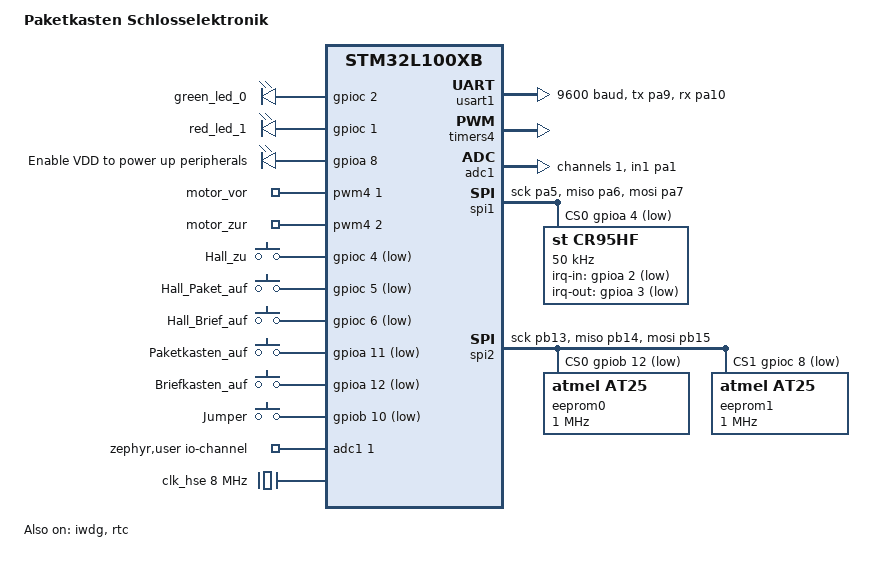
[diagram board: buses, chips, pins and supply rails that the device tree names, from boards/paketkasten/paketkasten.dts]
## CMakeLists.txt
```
#
# Copyright (c) 2025 Conny Marco Menebröcker
#
# SPDX-License-Identifier: Apache-2.0
#

cmake_minimum_required(VERSION 3.20.0)

find_package(Zephyr REQUIRED HINTS $ENV{ZEPHYR_BASE})

project(application)

target_sources(app PRIVATE 	src/main.c
				src/motor.c
				src/inputs.c
				src/states.c
				src/led.c
				src/powermanager.c
				src/rfid.c
				src/eeprom.c)
```

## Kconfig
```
#
# Copyright (c) 2022 Circuit Dojo LLC
#
# SPDX-License-Identifier: Apache-2.0
#

mainmenu "Application"

source "Kconfig.zephyr"
```

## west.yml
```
#
# Copyright (c) 2025 Conny Marco Menebröcker
#
# SPDX-License-Identifier: Apache-2.0
#

manifest:
  defaults:
    remote: upstream

  remotes:
    - name: meinfork
      url-base: https://github.com/cmm1981
    - name: upstream
      url-base: https://github.com/zephyrproject-rtos
  projects:
    - name: zephyr
      remote: meinfork
      revision: rfid
      path: zephyr
      import: true
  self:
    path: app
```

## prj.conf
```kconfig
CONFIG_LOG=y
CONFIG_LOG_PRINTK=y
CONFIG_LOG_MODE_IMMEDIATE=y
#CONFIG_PWM_LOG_LEVEL_DBG=y
CONFIG_STDOUT_CONSOLE=y

CONFIG_MULTITHREADING=y

#CONFIG_ADC_LOG_LEVEL_DBG=y
#CONFIG_DMA_LOG_LEVEL_DBG=y
#CONFIG_SPI_LOG_LEVEL_DBG=y
#CONFIG_RFID_LOG_LEVEL_DBG=y
CONFIG_POLL=y

#CONFIG_THREAD_STACK_INFO=y
#CONFIG_INIT_STACKS=y
#CONFIG_THREAD_ANALYZER=y

CONFIG_SYSTEM_WORKQUEUE_STACK_SIZE=1024
CONFIG_ISR_STACK_SIZE=512
```

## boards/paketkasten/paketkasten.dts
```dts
/*
 * Copyright (c) 2025 Conny Marco Menebröcker
 *
 * SPDX-License-Identifier: Apache-2.0
 */

/dts-v1/;
#include <st/l1/stm32l100Xb.dtsi>
#include <st/l1/stm32l100r(8-b)tx-pinctrl.dtsi>
#include <zephyr/dt-bindings/input/input-event-codes.h>

/ {
	model = "Paketkasten Schlosselektronik";
	compatible = "dhl,paketkasten";

	chosen {
		zephyr,console = &usart1;
		zephyr,shell-uart = &usart1;
		zephyr,sram = &sram0;
		zephyr,flash = &flash0;
	};

	leds: leds {
		compatible = "gpio-leds";
		green_led_0: led_0 {
			gpios = <&gpioc 2 GPIO_ACTIVE_HIGH>;
		};
		red_led_1: led_1 {
			gpios = <&gpioc 1 GPIO_ACTIVE_HIGH>;
		};
		vdd_en:	output {
			gpios = <&gpioa 8 GPIO_ACTIVE_HIGH>;
			label = "Enable VDD to power up peripherals";
		};
	};

	pwmleds: pwmleds {
		compatible = "pwm-leds";
		status = "okay";

		motor_vor: motor_vor {
			pwms = <&pwm4 1 PWM_USEC(100) PWM_POLARITY_NORMAL>;
		};

		motor_zur: motor_zur {
			pwms = <&pwm4 2 PWM_USEC(100) PWM_POLARITY_NORMAL>;
		};
	};

	gpio_keys {
		compatible = "gpio-keys";
		hall_zu: button0 {
			label = "Hall_zu";
			gpios = <&gpioc 4 (GPIO_ACTIVE_LOW | GPIO_PULL_UP)>;
			zephyr,code = <INPUT_KEY_0>;
		};

		hall_p_auf: button1 {
			label = "Hall_Paket_auf";
			gpios = <&gpioc 5 (GPIO_ACTIVE_LOW | GPIO_PULL_UP)>;
			zephyr,code = <INPUT_KEY_1>;
		};

		hall_b_auf: button2 {
			label = "Hall_Brief_auf";
			gpios = <&gpioc 6 (GPIO_ACTIVE_LOW | GPIO_PULL_UP)>;
			zephyr,code = <INPUT_KEY_2>;
		};

		paket_auf: button3 {
			label = "Paketkasten_auf";
			gpios = <&gpioa 11 (GPIO_ACTIVE_LOW | GPIO_PULL_UP)>;
			zephyr,code = <INPUT_KEY_3>;
		};

		brief_auf: button4 {
			label = "Briefkasten_auf";
			gpios = <&gpioa 12 (GPIO_ACTIVE_LOW | GPIO_PULL_UP)>;
			zephyr,code = <INPUT_KEY_4>;
		};

		jumper: button5	{
			label = "Jumper";
			gpios = <&gpiob 10 (GPIO_ACTIVE_LOW | GPIO_PULL_UP)>;
			zephyr,code = <INPUT_KEY_5>;
		};
	};

	aliases	{
		vdden = &vdd_en;
		ledgreen = &green_led_0;
		ledred = &red_led_1;
		motorv = &motor_vor;
		motorz = &motor_zur;
		hallzu = &hall_zu;
		hallpauf = &hall_p_auf;
		hallbauf = &hall_b_auf;
		paketauf = &paket_auf;
		briefauf = &brief_auf;
		jumper = &jumper;
		rfid = &cr95hf;
		watchdog0 = &iwdg;
		/*die-temp0 = &die_temp;
		volt-sensor0 = &vref; */
	};

	zephyr,user {
		io-channels = <&adc1 1>;

		unused_pin_a0_cfg: unused_pin_a0_cfg {
			compatible = "zephyr,gpio-pinctrl";
			pinctrl-0 = <&unused_pin_a0>;
			pinctrl-names = "default";
		};
		unused_pin_b0_cfg: unused_pin_b0_cfg
		{
			compatible = "zephyr,gpio-pinctrl";
			pinctrl-0 = <&unused_pin_b0>;
			pinctrl-names = "default";
		};
		unused_pin_b1_cfg: unused_pin_b1_cfg
		{
			compatible = "zephyr,gpio-pinctrl";
			pinctrl-0 = <&unused_pin_b1>;
			pinctrl-names = "default";
		};
		unused_pin_b2_cfg: unused_pin_b2_cfg
		{
			compatible = "zephyr,gpio-pinctrl";
			pinctrl-0 = <&unused_pin_b2>;
			pinctrl-names = "default";
		};
		unused_pin_b4_cfg: unused_pin_b4_cfg
		{
			compatible = "zephyr,gpio-pinctrl";
			pinctrl-0 = <&unused_pin_b4>;
			pinctrl-names = "default";
		};
		unused_pin_b5_cfg: unused_pin_b5_cfg
		{
			compatible = "zephyr,gpio-pinctrl";
			pinctrl-0 = <&unused_pin_b5>;
			pinctrl-names = "default";
		};
		unused_pin_b8_cfg: unused_pin_b8_cfg
		{
			compatible = "zephyr,gpio-pinctrl";
			pinctrl-0 = <&unused_pin_b8>;
			pinctrl-names = "default";
		};
		unused_pin_b9_cfg: unused_pin_b9_cfg
		{
			compatible = "zephyr,gpio-pinctrl";
			pinctrl-0 = <&unused_pin_b9>;
			pinctrl-names = "default";
		};
		unused_pin_b10_cfg: unused_pin_b10_cfg
		{
			compatible = "zephyr,gpio-pinctrl";
			pinctrl-0 = <&unused_pin_b10>;
			pinctrl-names = "default";
		};
		unused_pin_b11_cfg: unused_pin_b11_cfg
		{
			compatible = "zephyr,gpio-pinctrl";
			pinctrl-0 = <&unused_pin_b11>;
			pinctrl-names = "default";
		};
		unused_pin_c0_cfg: unused_pin_c0_cfg
		{
			compatible = "zephyr,gpio-pinctrl";
			pinctrl-0 = <&unused_pin_c0>;
			pinctrl-names = "default";
		};
		unused_pin_c3_cfg: unused_pin_c3_cfg
		{
			compatible = "zephyr,gpio-pinctrl";
			pinctrl-0 = <&unused_pin_c3>;
			pinctrl-names = "default";
		};
		unused_pin_c7_cfg: unused_pin_c7_cfg
		{
			compatible = "zephyr,gpio-pinctrl";
			pinctrl-0 = <&unused_pin_c7>;
			pinctrl-names = "default";
		};
		unused_pin_c9_cfg: unused_pin_c9_cfg
		{
			compatible = "zephyr,gpio-pinctrl";
			pinctrl-0 = <&unused_pin_c9>;
			pinctrl-names = "default";
		};
		unused_pin_c10_cfg: unused_pin_c10_cfg
		{
			compatible = "zephyr,gpio-pinctrl";
			pinctrl-0 = <&unused_pin_c10>;
			pinctrl-names = "default";
		};
		unused_pin_c11_cfg: unused_pin_c11_cfg
		{
			compatible = "zephyr,gpio-pinctrl";
			pinctrl-0 = <&unused_pin_c11>;
			pinctrl-names = "default";
		};
		unused_pin_c12_cfg: unused_pin_c12_cfg
		{
			compatible = "zephyr,gpio-pinctrl";
			pinctrl-0 = <&unused_pin_c12>;
			pinctrl-names = "default";
		};
		unused_pin_c13_cfg: unused_pin_c13_cfg
		{
			compatible = "zephyr,gpio-pinctrl";
			pinctrl-0 = <&unused_pin_c13>;
			pinctrl-names = "default";
		};
		unused_pin_d2_cfg: unused_pin_d2_cfg
		{
			compatible = "zephyr,gpio-pinctrl";
			pinctrl-0 = <&unused_pin_d2>;
			pinctrl-names = "default";
		};
	};
};

&clk_hse
{
	clock-frequency = <DT_FREQ_M(8)>;
	status = "okay";
};

&clk_hsi {
	status = "okay";
};

&clk_lse {
	status = "okay";
};

&pll {
	div = <2>;
	mul = <3>;
	clocks = <&clk_hse>;
	status = "okay";
};

&rcc {
	clocks = <&pll>;
	clock-frequency = <DT_FREQ_M(12)>;
	ahb-prescaler = <1>;
	apb1-prescaler = <1>;
	apb2-prescaler = <1>;
};

&iwdg {
	status = "okay";
};

&rtc {
	clocks = <&rcc STM32_CLOCK_BUS_APB1 0x10000000>, <&rcc STM32_SRC_LSE RTC_SEL(1)>;
	status = "okay";
};

/* &die_temp {
	status = "okay";
}; */

&flash0 {
	partitions {
		compatible = "fixed-partitions";
		#address-cells = <1>;
		#size-cells = <1>;
	};
};

&dma1 {
	status = "okay";
};

/* &vref {
	status = "okay";
}; */

&usart1 {
	dmas = <&dma1 4 (STM32_DMA_PERIPH_TX | STM32_DMA_PRIORITY_HIGH)>,
	<&dma1 5 (STM32_DMA_PERIPH_RX | STM32_DMA_PRIORITY_HIGH)>;
	dma-names = "tx", "rx";
	pinctrl-0 = <&usart1_tx_pa9 &usart1_rx_pa10>;
	pinctrl-names = "default";
	current-speed = <9600>;
	status = "okay";
};

&timers4 {
	status = "okay";

	pwm4: pwm {
		pinctrl-0 = <&tim4_ch1_pb6 &tim4_ch2_pb7>;
		pinctrl-names = "default";
		status = "okay";
	};
};

&adc1 {
	status = "okay";
	pinctrl-0 = <&adc_in1_pa1>;
	pinctrl-names = "default";
	st,adc-prescaler = <4>;

	#address-cells = <1>;
	#size-cells = <0>;

	channel@1 {
		reg = <1>;
		zephyr,gain = "ADC_GAIN_1";
		zephyr,reference = "ADC_REF_INTERNAL";
		zephyr,acquisition-time = <ADC_ACQ_TIME_DEFAULT>;
		zephyr,resolution = <12>;
	};

	dmas = <&dma1 1 (STM32_DMA_PERIPH_RX | STM32_DMA_PERIPH_16BITS | STM32_DMA_MEM_16BITS |
			STM32_DMA_PRIORITY_HIGH)>;
	dma-names = "adc";
};

&spi1 {
	pinctrl-0 = <&spi1_sck_pa5 &spi1_miso_pa6 &spi1_mosi_pa7>;
	pinctrl-names = "default";
	status = "okay";
	#address-cells = <1>;
	#size-cells = <0>;
	cs-gpios = <&gpioa 4 GPIO_ACTIVE_LOW>;

cr95hf:	spi-device@0 {
		reg = <0>;
		spi-max-frequency = <50000>;
		compatible = "st,cr95hf";
		status = "okay";
		irq-in-gpios = <&gpioa 2 GPIO_ACTIVE_LOW>;
		irq-out-gpios = <&gpioa 3 GPIO_ACTIVE_LOW>;
	};

	dmas = <&dma1 3 (STM32_DMA_PERIPH_TX | STM32_DMA_PRIORITY_HIGH)>,
	<&dma1 2 (STM32_DMA_PERIPH_RX | STM32_DMA_PRIORITY_HIGH)>;
	dma-names = "tx", "rx";
};

&spi2 {
	pinctrl-0 = <&spi2_sck_pb13 &spi2_miso_pb14 &spi2_mosi_pb15>;
	pinctrl-names = "default";
	status = "okay";
	#address-cells = <1>;
	#size-cells = <0>;
	cs-gpios = <&gpiob 12 GPIO_ACTIVE_LOW>, <&gpioc 8 GPIO_ACTIVE_LOW>;

eeprom0: eeprom@0 {
		reg = <0>;
		spi-max-frequency = <1000000>;
		compatible = "atmel,at25";
		status = "okay";
		size = <32768>;
		pagesize = <64>;
		address-width = <16>;
		timeout = <5>;
	};

eeprom1: eeprom@1 {
		reg = <1>;
		spi-max-frequency = <1000000>;
		compatible = "atmel,at25";
		status = "okay";
		size = <32768>;
		pagesize = <64>;
		address-width = <16>;
		timeout = <5>;
	};
};

&pinctrl {
	unused_pin_a0: unused_pin_a0_grp {
		pinmux = <STM32_PINMUX('A', 0, ANALOG)>;
		bias-pull-down;
	};
	unused_pin_b0: unused_pin_b0_grp {
		pinmux = <STM32_PINMUX('B', 0, ANALOG)>;
		bias-pull-down;
	};
	unused_pin_b1: unused_pin_b1_grp {
		pinmux = <STM32_PINMUX('B', 1, ANALOG)>;
		bias-pull-down;
	};
	unused_pin_b2: unused_pin_b2_grp {
		pinmux = <STM32_PINMUX('B', 2, ANALOG)>;
		bias-pull-down;
	};
	unused_pin_b4: unused_pin_b4_grp {
		pinmux = <STM32_PINMUX('B', 4, ANALOG)>;
		bias-pull-down;
	};
	unused_pin_b5: unused_pin_b5_grp {
		pinmux = <STM32_PINMUX('B', 5, ANALOG)>;
		bias-pull-down;
	};
	unused_pin_b8: unused_pin_b8_grp {
		pinmux = <STM32_PINMUX('B', 8, ANALOG)>;
		bias-pull-down;
	};
	unused_pin_b9: unused_pin_b9_grp {
		pinmux = <STM32_PINMUX('B', 9, ANALOG)>;
		bias-pull-down;
	};
	unused_pin_b10: unused_pin_b10_grp {
		pinmux = <STM32_PINMUX('B', 10, ANALOG)>;
		bias-pull-down;
	};
	unused_pin_b11: unused_pin_b11_grp {
		pinmux = <STM32_PINMUX('B', 11, ANALOG)>;
		bias-pull-down;
	};
	unused_pin_c0: unused_pin_c0_grp {
		pinmux = <STM32_PINMUX('C', 0, ANALOG)>;
		bias-pull-down;
	};
	unused_pin_c3: unused_pin_c3_grp {
		pinmux = <STM32_PINMUX('C', 3, ANALOG)>;
		bias-pull-down;
	};
	unused_pin_c7: unused_pin_c7_grp {
		pinmux = <STM32_PINMUX('C', 7, ANALOG)>;
		bias-pull-down;
	};
	unused_pin_c9: unused_pin_c9_grp {
		pinmux = <STM32_PINMUX('C', 9, ANALOG)>;
		bias-pull-down;
	};
	unused_pin_c10: unused_pin_c10_grp {
		pinmux = <STM32_PINMUX('C', 10, ANALOG)>;
		bias-pull-down;
	};
	unused_pin_c11: unused_pin_c11_grp {
		pinmux = <STM32_PINMUX('C', 11, ANALOG)>;
		bias-pull-down;
	};
	unused_pin_c12: unused_pin_c12_grp {
		pinmux = <STM32_PINMUX('C', 12, ANALOG)>;
		bias-pull-down;
	};
	unused_pin_c13: unused_pin_c13_grp {
		pinmux = <STM32_PINMUX('C', 13, ANALOG)>;
		bias-pull-down;
	};
	unused_pin_d2: unused_pin_d2_grp {
		pinmux = <STM32_PINMUX('D', 2, ANALOG)>;
		bias-pull-down;
	};
};
```

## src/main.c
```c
/*
 * Copyright (c) 2025 Conny Marco Menebröcker
 *
 * SPDX-License-Identifier: Apache-2.0
 */

#include <stdbool.h>
#include <zephyr/drivers/uart.h>
#include <zephyr/kernel.h>
#include "eeprom.h"
#include "inputs.h"
#include "led.h"
#include "motor.h"
#include "powermanager.h"
#include "rfid.h"
#include "states.h"
#include <zephyr/debug/thread_analyzer.h>

/* Mainloob will sleep for 100ms */
#define SLEEP_TIME_MS 100

static const struct device *uart_dev = DEVICE_DT_GET(DT_CHOSEN(zephyr_console));

static void uart_cb(const struct device *dev, void *user_data)
{
	uint8_t c;
	printk("UART Daten empfangen\n");
	powermanager_wakeup();
	/* Read all available data from the UART FIFO */
	while (uart_fifo_read(dev, &c, 1)) {
		switch (c) {
		case 'o':
			push_command(CMD_OEFFNE_BRIEF);
			break;

		case 'p':
			push_command(CMD_OEFFNE_PAKET);
			break;
		}
	}
}

int main(void)
{
	int ret;

	if (!device_is_ready(uart_dev)) {
		printk("UART device not ready\n");
		return 0;
	}

	uart_irq_callback_user_data_set(uart_dev, uart_cb, NULL);
	uart_irq_rx_enable(uart_dev);

	ret = led_init();
	if (ret < 0) {
		return 0;
	}

	ret = motor_init();
	if (ret < 0) {
		return 0;
	}

	ret = inputs_init();
	if (ret < 0) {
		return 0;
	}

	ret = eeprom_init();
	if (ret < 0) {
		return 0;
	}

	powermanager_init();

	rfid_init();

	while (1) {
		state_machine();

		k_msleep(SLEEP_TIME_MS);

		// thread_analyzer_print(0);
	}
	return 0;
}
```

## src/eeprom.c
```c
/*
 * Copyright (c) 2025 Conny Marco Menebröcker
 *
 * SPDX-License-Identifier: Apache-2.0
 */
#include <zephyr/drivers/eeprom.h>
#include <zephyr/kernel.h>

#define EEPROM_NODE DT_NODELABEL(eeprom0)

#define EEPROM_PAGE_SIZE 64

static const struct device *eeprom_dev;

#define UID_LIST_LEN 6
#define UID_MAX_LEN  10

static struct uid_list {
	uint8_t uid[UID_LIST_LEN][UID_MAX_LEN];
	size_t uid_count;
} uids;

BUILD_ASSERT(sizeof(struct uid_list) <= EEPROM_PAGE_SIZE,
	     "struct uid_list is to big for one EEPROM page");

int eeprom_init(void)
{

	int ret;

	eeprom_dev = DEVICE_DT_GET(EEPROM_NODE);

	if (!device_is_ready(eeprom_dev)) {
		printk("AT25 EEPROM not ready!\n");
		return -1;
	}

	ret = eeprom_read(eeprom_dev, 0, &uids, sizeof(uids));
	if (ret < 0) {
		printk("Read failed: %d\n", ret);
		return ret;
	}

	return 0;
}

int eeprom_write_uid_list(void)
{

	int ret;

	ret = eeprom_write(eeprom_dev, 0, &uids, sizeof(uids));
	if (ret < 0) {
		printk("Write failed: %d\n", ret);
		return ret;
	}

	for (size_t i = 0; i < uids.uid_count; i++) {
		printk("UID[%d]: ", i);
		for (size_t j = 0; j < UID_MAX_LEN; j++) {
			printk("%02X ", uids.uid[i][j]);
		}
		printk("\n");
	}

	k_msleep(10);

	return 0;
}

void eeprom_clear_uid_list(void)
{
	memset(&uids, 0, sizeof(uids));
}

int eeprom_add_uid(uint8_t *uid, size_t len)
{

	if (len > UID_MAX_LEN) {
		printk("Wrong UID size! Max 10 bytes allowed");
		return -EINVAL;
	}

	if (uids.uid_count >= UID_LIST_LEN) {
		printk("UID List is full");
		return -ENOMEM;
	}

	memcpy(uids.uid[uids.uid_count], uid, len);
	memset(&uids.uid[uids.uid_count][len], 0, UID_MAX_LEN - len);
	uids.uid_count += 1;

	return 0;
}

bool eeprom_check_uid(uint8_t *uid, size_t len)
{

	for (uint8_t i = 0; i < uids.uid_count; i++) {
		if (memcmp(uids.uid[i], uid, len) == 0) {
			return true;
		}
	}
	return false;
}
```

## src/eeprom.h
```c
/*
 * Copyright (c) 2025 Conny Marco Menebröcker
 *
 * SPDX-License-Identifier: Apache-2.0
 */

#ifndef EEPROM_H
#define EEPROM_H

int eeprom_init(void);
int eeprom_write_uid_list(void);
void eeprom_clear_uid_list(void);
int eeprom_add_uid(uint8_t *uid, size_t len);
bool eeprom_check_uid(uint8_t *uid, size_t len);

#endif // EEPROM_H
```

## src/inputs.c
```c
/*
 * Copyright (c) 2025 Conny Marco Menebröcker
 *
 * SPDX-License-Identifier: Apache-2.0
 */

#include "powermanager.h"
#include "states.h"
#include <zephyr/drivers/gpio.h>
#include <zephyr/kernel.h>
#include <stdbool.h>

#define HALL_ZU_NODE DT_ALIAS(hallzu)
#if !DT_NODE_HAS_STATUS_OKAY(HALL_ZU_NODE)
#error "Unsupported board: hallzu devicetree alias is not defined"
#endif
static const struct gpio_dt_spec hall_zu = GPIO_DT_SPEC_GET_OR(HALL_ZU_NODE, gpios, {0});

#define HALL_P_AUF_NODE DT_ALIAS(hallpauf)
#if !DT_NODE_HAS_STATUS_OKAY(HALL_P_AUF_NODE)
#error "Unsupported board: hallpauf devicetree alias is not defined"
#endif
static const struct gpio_dt_spec hall_p_auf = GPIO_DT_SPEC_GET_OR(HALL_P_AUF_NODE, gpios, {0});

#define HALL_B_AUF_NODE DT_ALIAS(hallbauf)
#if !DT_NODE_HAS_STATUS_OKAY(HALL_B_AUF_NODE)
#error "Unsupported board: hallbauf devicetree alias is not defined"
#endif
static const struct gpio_dt_spec hall_b_auf = GPIO_DT_SPEC_GET_OR(HALL_B_AUF_NODE, gpios, {0});

#define PAKET_AUF_NODE DT_ALIAS(paketauf)
#if !DT_NODE_HAS_STATUS_OKAY(PAKET_AUF_NODE)
#error "Unsupported board: paketauf devicetree alias is not defined"
#endif
static const struct gpio_dt_spec paket_auf = GPIO_DT_SPEC_GET_OR(PAKET_AUF_NODE, gpios, {0});

#define BRIEF_AUF_NODE DT_ALIAS(briefauf)
#if !DT_NODE_HAS_STATUS_OKAY(BRIEF_AUF_NODE)
#error "Unsupported board: briefauf devicetree alias is not defined"
#endif
static const struct gpio_dt_spec brief_auf = GPIO_DT_SPEC_GET_OR(BRIEF_AUF_NODE, gpios, {0});

#define JUMPER_NODE DT_ALIAS(jumper)
#if !DT_NODE_HAS_STATUS_OKAY(JUMPER_NODE)
#error "Unsupported board: jumper devicetree alias is not defined"
#endif
static const struct gpio_dt_spec jumper_spec = GPIO_DT_SPEC_GET_OR(JUMPER_NODE, gpios, {0});

static struct gpio_callback hall_zu_cb_data;
static struct gpio_callback hall_p_auf_cb_data;
static struct gpio_callback hall_b_auf_cb_data;
static struct gpio_callback paket_auf_cb_data;
static struct gpio_callback brief_auf_cb_data;
static struct gpio_callback jumper_cb_data;

bool input_zu = true;
bool input_p_auf = false;
bool input_b_auf = false;
bool jumper_bit = false;

void hall_change(const struct device *dev, struct gpio_callback *cb, uint32_t pins)
{
	if ((pins & BIT(hall_zu.pin)) != 0) {
		input_zu = true;
		input_p_auf = false;
		input_b_auf = false;
	}

	if ((pins & BIT(hall_p_auf.pin)) != 0) {
		input_zu = false;
		input_p_auf = true;
		input_b_auf = false;
	}

	if ((pins & BIT(hall_b_auf.pin)) != 0) {
		input_zu = false;
		input_p_auf = false;
		input_b_auf = true;
	}
}

void taster_cb(const struct device *dev, struct gpio_callback *cb, uint32_t pins)
{
	printk("Taster gedrückt\n");
	powermanager_wakeup();
	if ((pins & BIT(paket_auf.pin)) != 0) {
		push_command(CMD_OEFFNE_PAKET);
	}

	if ((pins & BIT(brief_auf.pin)) != 0) {
		push_command(CMD_OEFFNE_BRIEF);
	}
}

void jumper_cb(const struct device *dev, struct gpio_callback *cb, uint32_t pins)
{
	jumper_bit = gpio_pin_get_dt(&jumper_spec);
}

int inputs_init(void)
{
	int ret;

	/* Konfiguriere Hall Sensor für Paketkasten zu */
	if (!gpio_is_ready_dt(&hall_zu)) {
		printk("Error: hall_zu device %s is not ready\n", hall_zu.port->name);
		return -1;
	}

	ret = gpio_pin_configure_dt(&hall_zu, GPIO_INPUT);
	if (ret != 0) {
		printk("Error %d: failed to configure %s pin %d\n", ret, hall_zu.port->name,
		       hall_zu.pin);
		return -1;
	}

	ret = gpio_pin_interrupt_configure_dt(&hall_zu, GPIO_INT_EDGE_TO_ACTIVE);
	if (ret != 0) {
		printk("Error %d: failed to configure interrupt on %s pin %d\n", ret,
		       hall_zu.port->name, hall_zu.pin);
		return 0;
	}

	gpio_init_callback(&hall_zu_cb_data, hall_change, BIT(hall_zu.pin));
	gpio_add_callback(hall_zu.port, &hall_zu_cb_data);

	/* Konfiguriere Hall Sensor für Paketkasten auf */
	if (!gpio_is_ready_dt(&hall_p_auf)) {
		printk("Error: hall_p_auf device %s is not ready\n", hall_p_auf.port->name);
		return -1;
	}

	ret = gpio_pin_configure_dt(&hall_p_auf, GPIO_INPUT);
	if (ret != 0) {
		printk("Error %d: failed to configure %s pin %d\n", ret, hall_p_auf.port->name,
		       hall_p_auf.pin);
		return -1;
	}

	ret = gpio_pin_interrupt_configure_dt(&hall_p_auf, GPIO_INT_EDGE_TO_ACTIVE);
	if (ret != 0) {
		printk("Error %d: failed to configure interrupt on %s pin %d\n", ret,
		       hall_p_auf.port->name, hall_p_auf.pin);
		return 0;
	}

	gpio_init_callback(&hall_p_auf_cb_data, hall_change, BIT(hall_p_auf.pin));
	gpio_add_callback(hall_p_auf.port, &hall_p_auf_cb_data);

	/* Konfiguriere Hall Sensor für Paketkasten und Briefkasten auf */
	if (!gpio_is_ready_dt(&hall_b_auf)) {
		printk("Error: hall_b_auf device %s is not ready\n", hall_b_auf.port->name);
		return -1;
	}

	ret = gpio_pin_configure_dt(&hall_b_auf, GPIO_INPUT);
	if (ret != 0) {
		printk("Error %d: failed to configure %s pin %d\n", ret, hall_b_auf.port->name,
		       hall_b_auf.pin);
		return -1;
	}

	ret = gpio_pin_interrupt_configure_dt(&hall_b_auf, GPIO_INT_EDGE_TO_ACTIVE);
	if (ret != 0) {
		printk("Error %d: failed to configure interrupt on %s pin %d\n", ret,
		       hall_b_auf.port->name, hall_b_auf.pin);
		return 0;
	}

	gpio_init_callback(&hall_b_auf_cb_data, hall_change, BIT(hall_b_auf.pin));
	gpio_add_callback(hall_b_auf.port, &hall_b_auf_cb_data);

	/* Konfiguriere Taster für Paketkasten auf */
	if (!gpio_is_ready_dt(&paket_auf)) {
		printk("Error: paket_auf device %s is not ready\n", paket_auf.port->name);
		return -1;
	}

	ret = gpio_pin_configure_dt(&paket_auf, GPIO_INPUT);
	if (ret != 0) {
		printk("Error %d: failed to configure %s pin %d\n", ret, paket_auf.port->name,
		       paket_auf.pin);
		return -1;
	}

	ret = gpio_pin_interrupt_configure_dt(&paket_auf, GPIO_INT_EDGE_TO_ACTIVE);
	if (ret != 0) {
		printk("Error %d: failed to configure interrupt on %s pin %d\n", ret,
		       paket_auf.port->name, paket_auf.pin);
		return 0;
	}

	gpio_init_callback(&paket_auf_cb_data, taster_cb, BIT(paket_auf.pin));
	gpio_add_callback(paket_auf.port, &paket_auf_cb_data);

	/* Konfiguriere Taster für Paketkasten und Briefkasten auf */
	if (!gpio_is_ready_dt(&brief_auf)) {
		printk("Error: brief_auf device %s is not ready\n", brief_auf.port->name);
		return -1;
	}

	ret = gpio_pin_configure_dt(&brief_auf, GPIO_INPUT);
	if (ret != 0) {
		printk("Error %d: failed to configure %s pin %d\n", ret, brief_auf.port->name,
		       brief_auf.pin);
		return -1;
	}

	ret = gpio_pin_interrupt_configure_dt(&brief_auf, GPIO_INT_EDGE_TO_ACTIVE);
	if (ret != 0) {
		printk("Error %d: failed to configure interrupt on %s pin %d\n", ret,
		       brief_auf.port->name, brief_auf.pin);
		return 0;
	}

	gpio_init_callback(&brief_auf_cb_data, taster_cb, BIT(brief_auf.pin));
	gpio_add_callback(brief_auf.port, &brief_auf_cb_data);

	/* Konfiguriere Taster für Paketkasten und Briefkasten auf */
	if (!gpio_is_ready_dt(&jumper_spec)) {
		printk("Error: jumper device %s is not ready\n", jumper_spec.port->name);
		return -1;
	}

	ret = gpio_pin_configure_dt(&jumper_spec, GPIO_INPUT);
	if (ret != 0) {
		printk("Error %d: failed to configure %s pin %d\n", ret, jumper_spec.port->name,
		       jumper_spec.pin);
		return -1;
	}

	ret = gpio_pin_interrupt_configure_dt(&jumper_spec, GPIO_INT_EDGE_BOTH);
	if (ret != 0) {
		printk("Error %d: failed to configure interrupt on %s pin %d\n", ret,
		       jumper_spec.port->name, jumper_spec.pin);
		return 0;
	}
	jumper_bit = gpio_pin_get_dt(&jumper_spec);

	gpio_init_callback(&jumper_cb_data, jumper_cb, BIT(jumper_spec.pin));
	gpio_add_callback(jumper_spec.port, &jumper_cb_data);

	return 0;
}

bool *get_kasten_zu(void)
{
	return &input_zu;
}

bool *get_paket_auf(void)
{
	return &input_p_auf;
}

bool *get_brief_auf(void)
{
	return &input_b_auf;
}

bool get_jumper_bit(void)
{
	return jumper_bit;
}
```

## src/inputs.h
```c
/*
 * Copyright (c) 2025 Conny Marco Menebröcker
 *
 * SPDX-License-Identifier: Apache-2.0
 */

#ifndef INPUTS_H
#define INPUTS_H

int inputs_init(void);
bool *get_kasten_zu(void);
bool *get_paket_auf(void);
bool *get_brief_auf(void);
bool get_jumper_bit(void);

#endif // INPUTS_H
```

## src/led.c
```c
/*
 * Copyright (c) 2025 Conny Marco Menebröcker
 *
 * SPDX-License-Identifier: Apache-2.0
 */

#include <zephyr/drivers/gpio.h>
#include <zephyr/kernel.h>

/* The devicetree node identifier for the "led0"(grün) and "led1"(rot) alias. */
#define LEDGREEN_NODE DT_ALIAS(ledgreen)
#define LEDRED_NODE   DT_ALIAS(ledred)

static const struct gpio_dt_spec led_green = GPIO_DT_SPEC_GET(LEDGREEN_NODE, gpios);
static const struct gpio_dt_spec led_red = GPIO_DT_SPEC_GET(LEDRED_NODE, gpios);

int led_init(void)
{
	int ret;

	if (!gpio_is_ready_dt(&led_green) || !gpio_is_ready_dt(&led_red)) {
		return -1;
	}

	ret = gpio_pin_configure_dt(&led_green, GPIO_OUTPUT_ACTIVE);
	if (ret < 0) {
		return -1;
	}

	ret = gpio_pin_configure_dt(&led_red, GPIO_OUTPUT_ACTIVE);
	if (ret < 0) {
		return -1;
	}

	/* Schalte grüne LED ein*/
	ret = gpio_pin_set_dt(&led_green, 1);
	if (ret < 0) {
		return -1;
	}

	/* Schalte rote LED aus*/
	ret = gpio_pin_set_dt(&led_red, 0);
	if (ret < 0) {
		return -1;
	}
	return 0;
}

void led_green_on(void)
{
	/* Schalte grüne LED ein*/
	gpio_pin_set_dt(&led_green, 1);
}

void led_green_off(void)
{
	/* Schalte grüne LED ein*/
	gpio_pin_set_dt(&led_green, 0);
}

void led_green_toggle(void)
{
	if (gpio_pin_get_dt(&led_green)) {
		gpio_pin_set_dt(&led_green, 0);
	} else {
		gpio_pin_set_dt(&led_green, 1);
	}
}

void led_red_on(void)
{
	/* Schalte grüne LED ein*/
	gpio_pin_set_dt(&led_red, 1);
}

void led_red_off(void)
{
	/* Schalte grüne LED ein*/
	gpio_pin_set_dt(&led_red, 0);
}
```

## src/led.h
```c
/*
 * Copyright (c) 2025 Conny Marco Menebröcker
 *
 * SPDX-License-Identifier: Apache-2.0
 */

#ifndef LED_H
#define LED_H

/**
 * @brief Initialisiere die LEDs
 *
 * Diese Funktion konfiguriert die LEDs und setzt ihren
 * Anfangszustand.
 *
 * @return 0 bei Erfolg, -1 bei einem Fehler.
 */
int led_init(void);

/**
 * @brief Schalte die grüne LED ein
 *
 * Diese Funktion schaltet die grüne LED ein.
 */
void led_green_on(void);

/**
 * @brief Schalte die grüne LED aus
 *
 * Diese Funktion schaltet die grüne LED aus.
 */
void led_green_off(void);

/**
 * @brief Schalte die grüne LED um
 *
 * Diese Funktion schaltet die grüne LED um. Wenn sie aus ist, wird sie eingeschaltet.
 * Ist sie eingeschaltet wird sie ausgeschaltet
 */
void led_green_toggle(void);

/**
 * @brief Schalte die rote LED ein
 *
 * Diese Funktion schaltet die rote LED ein.
 */
void led_red_on(void);

/**
 * @brief Schalte die rote LED aus
 *
 * Diese Funktion schaltet die rote LED aus.
 */
void led_red_off(void);

#endif // LED_H
```

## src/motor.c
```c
/*
 * Copyright (c) 2025 Conny Marco Menebröcker
 *
 * SPDX-License-Identifier: Apache-2.0
 */

#include "motor.h"
#include <zephyr/device.h>
#include <zephyr/drivers/adc.h>
#include <zephyr/drivers/pwm.h>
#include <zephyr/kernel.h>
#include <zephyr/sys/printk.h>

#define MOTORV_PWM_NODE DT_NODELABEL(motor_vor)
#define MOTORZ_PWM_NODE DT_NODELABEL(motor_zur)

#define MOTOR_OFF             0
#define MOTOR_PWM_PERIOD      DT_PWMS_PERIOD(MOTORV_PWM_NODE)
#define MOTOR_PWM_PULSE_START MOTOR_PWM_PERIOD / 2U

#define MOTOR_ERR_PWM_NOT_READY -1
#define MOTOR_ERR_PWM_SET       -2
#define MOTOR_ERR_ADC_NOT_READY -3
#define MOTOR_ERR_ADC_SETUP     -4
#define MOTOR_ERR_ADC_START     -5

#define MOTOR_ADC_NODE        DT_NODELABEL(adc1)
#define MOTOR_ADC_RESOLUTION  12
#define MOTOR_ADC_CHANNEL     1 // ADC_IN1 → PA1
#define MOTOR_ADC_BUFFER_SIZE 20
#define MOTOR_ADC_INTERVAL_US 500

#define MOTOR_MAIN_STACK_SIZE 1024
#define MOTOR_MAIN_PRIORITY   5

K_THREAD_STACK_DEFINE(motor_main_stack, MOTOR_MAIN_STACK_SIZE);
static struct k_thread motor_main_data;
k_tid_t motor_main_id;

static const struct pwm_dt_spec motorv = PWM_DT_SPEC_GET(DT_ALIAS(motorv));
static const struct pwm_dt_spec motorz = PWM_DT_SPEC_GET(DT_ALIAS(motorz));

static uint16_t motor_adc_buffer_a[MOTOR_ADC_BUFFER_SIZE];
static uint16_t motor_adc_buffer_b[MOTOR_ADC_BUFFER_SIZE];
static uint16_t *motor_adc_current_buffer = motor_adc_buffer_a;

static struct k_poll_signal motor_adc_done_signal;
static struct k_poll_event motor_adc_event;

#if !DT_NODE_EXISTS(DT_PATH(zephyr_user)) || !DT_NODE_HAS_PROP(DT_PATH(zephyr_user), io_channels)
#error "No suitable devicetree overlay specified"
#endif

#define DT_SPEC_AND_COMMA(node_id, prop, idx) ADC_DT_SPEC_GET_BY_IDX(node_id, idx),

/* Data of ADC io-channels specified in devicetree. */
static const struct adc_dt_spec motor_adc_channels[] = {
	DT_FOREACH_PROP_ELEM(DT_PATH(zephyr_user), io_channels, DT_SPEC_AND_COMMA)};

struct adc_sequence_options motor_seq_options = {
	.callback = NULL,
	.extra_samplings = MOTOR_ADC_BUFFER_SIZE - 1,
	.interval_us = MOTOR_ADC_INTERVAL_US,
	.user_data = NULL,
};

struct adc_sequence motor_sequence = {
	.options = &motor_seq_options,
	.buffer = motor_adc_buffer_a,
	.buffer_size = sizeof(motor_adc_buffer_a),
	.calibrate = false,
};

typedef struct {
	motor_richtung_t richtung_soll; // Angeforderte Drehrichtung
	uint16_t timeout_10ms;          // Zeit bis zum Timeout pro 10ms (100raw * 10ms = 1s)
	bool *stop;                     // Zeiger zum Stop Kriterium
	uint16_t pulse;
} motor_t;

motor_t motor;

typedef struct {
	motor_richtung_t richtung_soll; // Angeforderte Drehrichtung
	uint16_t timeout_10ms;          // Zeit bis zum Timeout pro 10ms (100raw * 10ms = 1s)
	bool *stop;                     // Zeiger zum Stop Kriterium
} motor_set_t;

K_PIPE_DEFINE(motor_set_pipe, sizeof(motor_set_t), 4);

/* 10ms Funktion zur Motorregelung */
void motor_main(void *p1, void *p2, void *p3)
{
	int ret;
	motor_set_t my_motor_set;
	uint32_t motor_strom;

	while (1) {
		/* Auf ADC Werte warte => 10ms Takt erzeugen
		    - k_poll kommt ca. alle 10,4ms Zurück */
		ret = k_poll(&motor_adc_event, 1, K_FOREVER);
		if (ret < 0) {
			printk("k_poll error: %d\n", ret);
		}

		k_poll_signal_reset(&motor_adc_done_signal);

		/* Buffer bearbeiten */
		motor_strom = 0;
		for (int i = 0; i < MOTOR_ADC_BUFFER_SIZE; i++) {
			motor_strom += motor_adc_current_buffer[i];
		}
		/* Mittelwert bilden */
		motor_strom = motor_strom / MOTOR_ADC_BUFFER_SIZE;

		/* Umrechung in mV*/
		adc_raw_to_millivolts_dt(&motor_adc_channels[0], &motor_strom);

		/* Umrechnung in mA: 0,5 Ohm => I = U/R = U/0,5 = U*2 */
		motor_strom = motor_strom * 2;

		/* Buffer wechseln */
		motor_adc_current_buffer = (motor_adc_current_buffer == motor_adc_buffer_a)
						   ? motor_adc_buffer_b
						   : motor_adc_buffer_a;

		/* Nächste ADC-DMA Übertragung starten */
		(void)adc_sequence_init_dt(&motor_adc_channels[0], &motor_sequence);
		motor_sequence.buffer = motor_adc_current_buffer;
		motor_sequence.buffer_size = sizeof(motor_adc_buffer_a);
		ret = adc_read_async((&motor_adc_channels[0])->dev, &motor_sequence,
				     &motor_adc_done_signal);
		if (ret < 0) {
			printk("ADC async read failed: %d\n", ret);
		}

		/* Checken ob neue Befehl vorliegt*/
		if (k_pipe_read(&motor_set_pipe, (uint8_t *)&my_motor_set, sizeof(motor_set_t),
				K_NO_WAIT) == sizeof(motor_set_t)) {
			motor.richtung_soll = my_motor_set.richtung_soll;
			motor.timeout_10ms = my_motor_set.timeout_10ms;
			motor.stop = my_motor_set.stop;
		}

		/* ToDo: Stromregelung*/

		/* Check endstop */
		if (*motor.stop) {
			/* Endstop erreicht */
			motor.richtung_soll = MOTOR_STOP;
		}

		/* Rechne Timeout */
		if (motor.richtung_soll != MOTOR_STOP && motor.timeout_10ms > 0) {
			motor.timeout_10ms--;
			if (!motor.timeout_10ms) {
				printk("Motor Error: Timeout before endstop reached\n");
				motor.richtung_soll = MOTOR_STOP;
			}
		}

		/* Schalte PWM für den Motor */
		switch (motor.richtung_soll) {
		case MOTOR_VOR:
			if (pwm_set_dt(&motorv, MOTOR_PWM_PERIOD, motor.pulse)) {
				printk("Error: failed to set pulse width\n");
			}
			if (pwm_set_dt(&motorz, MOTOR_PWM_PERIOD, MOTOR_OFF)) {
				printk("Error: failed to set pulse width\n");
			}
			break;

		case MOTOR_ZUR:
			if (pwm_set_dt(&motorv, MOTOR_PWM_PERIOD, MOTOR_OFF)) {
				printk("Error: failed to set pulse width\n");
			}
			if (pwm_set_dt(&motorz, MOTOR_PWM_PERIOD, motor.pulse)) {
				printk("Error: failed to set pulse width\n");
			}
			break;

		default:
			/* Stop Motor */
			if (pwm_set_dt(&motorv, MOTOR_PWM_PERIOD, MOTOR_OFF)) {
				printk("Error: failed to set pulse width\n");
			}
			if (pwm_set_dt(&motorz, MOTOR_PWM_PERIOD, MOTOR_OFF)) {
				printk("Error: failed to set pulse width\n");
			}
		}
	}
}

/* Initialization of necessary Inputs (ADC) and outputs (PWM) */
int motor_init(void)
{
	int ret;

	motor.richtung_soll = MOTOR_STOP;
	motor.pulse = MOTOR_PWM_PULSE_START;

	if (!pwm_is_ready_dt(&motorv)) {
		printk("Error: PWM device %s is not ready\n", motorv.dev->name);
		return MOTOR_ERR_PWM_NOT_READY;
	}

	if (!pwm_is_ready_dt(&motorz)) {
		printk("Error: PWM device %s is not ready\n", motorz.dev->name);
		return MOTOR_ERR_PWM_NOT_READY;
	}

	ret = pwm_set_dt(&motorv, MOTOR_PWM_PERIOD, MOTOR_OFF);
	if (ret) {
		printk("Error %d: failed to set pulse width\n", ret);
		return MOTOR_ERR_PWM_SET;
	}

	ret = pwm_set_dt(&motorz, MOTOR_PWM_PERIOD, MOTOR_OFF);
	if (ret) {
		printk("Error %d: failed to set pulse width\n", ret);
		return MOTOR_ERR_PWM_SET;
	}

	if (!adc_is_ready_dt(&motor_adc_channels[0])) {
		printk("ADC device not ready!\n");
		return MOTOR_ERR_ADC_NOT_READY;
	}

	/* Init ADC async event handling */
	k_poll_signal_init(&motor_adc_done_signal);
	k_poll_event_init(&motor_adc_event, K_POLL_TYPE_SIGNAL, K_POLL_MODE_NOTIFY_ONLY,
			  &motor_adc_done_signal);

	ret = adc_channel_setup_dt(&motor_adc_channels[0]);
	if (ret != 0) {
		printk("ADC channel setup failed (%d)\n", ret);
		return MOTOR_ERR_ADC_SETUP;
	}

	/* ADC Read starten */
	(void)adc_sequence_init_dt(&motor_adc_channels[0], &motor_sequence);
	motor_sequence.buffer = motor_adc_current_buffer;
	ret = adc_read_async((&motor_adc_channels[0])->dev, &motor_sequence,
			     &motor_adc_done_signal);
	if (ret != 0) {
		printk("ADC Async Read failed (%d)\n", ret);
		return MOTOR_ERR_ADC_START;
	}

	/* Starte motor_main */
	motor_main_id = k_thread_create(&motor_main_data, motor_main_stack,
					K_THREAD_STACK_SIZEOF(motor_main_stack), motor_main, NULL,
					NULL, NULL, MOTOR_MAIN_PRIORITY, 0, K_NO_WAIT);

	return 0;
}

void motor_set(motor_richtung_t richtung, uint8_t timeout_s, bool *stop)
{
	motor_set_t my_motor_set;
	my_motor_set.richtung_soll = richtung;
	my_motor_set.timeout_10ms = (uint16_t)timeout_s * 100U;
	my_motor_set.stop = stop;

	k_pipe_write(&motor_set_pipe, (uint8_t *)&my_motor_set, sizeof(motor_set_t), K_FOREVER);
}
```

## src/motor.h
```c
/*
 * Copyright (c) 2025 Conny Marco Menebröcker
 *
 * SPDX-License-Identifier: Apache-2.0
 */
#include <stdbool.h>
#include <stdint.h>
#include <zephyr/kernel.h>

#ifndef MOTOR_H
#define MOTOR_H

typedef enum {
	MOTOR_STOP,
	MOTOR_VOR,
	MOTOR_ZUR
} motor_richtung_t;

int motor_init(void);
void motor_set(motor_richtung_t richtung, uint8_t timeout_s, bool *stop);

#endif // MOTOR_H
```

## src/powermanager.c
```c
/*
 * Copyright (c) 2025 Conny Marco Menebröcker
 *
 * SPDX-License-Identifier: Apache-2.0
 */
#include "led.h"
#include <zephyr/drivers/gpio.h>
#include <zephyr/drivers/watchdog.h>
#include <zephyr/kernel.h>

#define PM_TIMER_MS 5000

/* Todo: Die Zephyr Treiber unterstützen aktuell noch keine Powermodes für den
   STM32L100 sodass er nicht schlafen geht. Die Treiber müssen erweitert werden
   und die Powermodes im DTS aktiviert werden. Dann geht auch der STM32L100 in
   den Sleepmode Aktuell wird nur die externe peripherie abgeschaltet */

/* The devicetree node identifier for "vdden" alias. */
#define VDDEN_NODE DT_ALIAS(vdden)

static const struct gpio_dt_spec vdd_en = GPIO_DT_SPEC_GET(VDDEN_NODE, gpios);
static const struct device *wdt_dev = DEVICE_DT_GET(DT_ALIAS(watchdog0));

static struct k_timer sleep_timer;
static volatile enum {
	RUNNING,
	SLEEPING
} system_state = RUNNING, old_system_state = RUNNING;
static struct k_thread *sleep_thread = NULL;

static void sleep_timer_callback(struct k_timer *timer_id)
{
	if(system_state == RUNNING)
	{
		old_system_state = RUNNING;
	}
	system_state = SLEEPING;
}

void powermanager_trigger(void)
{
	wdt_feed(wdt_dev, 0);
	k_timer_start(&sleep_timer, K_MSEC(PM_TIMER_MS), K_NO_WAIT);
	system_state = RUNNING;
}

void powermanager_check(void)
{
	wdt_feed(wdt_dev, 0);

	if (system_state == SLEEPING) {
		if(old_system_state == RUNNING)
		{
			printk("System entering sleep mode\n");
			old_system_state = SLEEPING;
		}
		/* Schalte Versorgung für Peripherie aus */
		/* This will turn off the VDDEN pin */
		/* and disable the power to the peripherals */
		gpio_pin_set_dt(&vdd_en, 0);
		/* Set the system to sleep */
		/* This will block the current thread until woken up */
		/* by powermanager_wakeup() */
		sleep_thread = k_current_get();
		k_sleep(K_MSEC(PM_TIMER_MS));
	}
}

void powermanager_init(void)
{
	int ret;

	/* Konfiguriere VDDEN Pin */
	/* Der Pin ist als Ausgang konfiguriert und wird auf HIGH gesetzt */
	if (!gpio_is_ready_dt(&vdd_en)) {
		return;
	}

	ret = gpio_pin_configure_dt(&vdd_en, GPIO_OUTPUT_ACTIVE);
	if (ret < 0) {
		return;
	}

	/* Schalte Versorgung für Peripherie ein */
	ret = gpio_pin_set_dt(&vdd_en, 1);
	if (ret < 0) {
		return;
	}

	k_timer_init(&sleep_timer, sleep_timer_callback, NULL);
	powermanager_trigger();
}

void powermanager_wakeup(void)
{
	wdt_feed(wdt_dev, 0);

	system_state = RUNNING;
	if (sleep_thread != NULL) {
		/* Schalte Versorgung für Peripherie ein */
		gpio_pin_set_dt(&vdd_en, 1);

		k_wakeup(sleep_thread);
		sleep_thread = NULL;
		printk("System waking up\n");
	}
}
```

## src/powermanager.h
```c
/*
 * Copyright (c) 2025 Conny Marco Menebröcker
 *
 * SPDX-License-Identifier: Apache-2.0
 */
#ifndef POWERMANAGER_H
#define POWERMANAGER_H

void powermanager_init(void);
void powermanager_trigger(void);
void powermanager_check(void);
void powermanager_wakeup(void);

#endif // POWERMANAGER_H
```

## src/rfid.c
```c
/*
 * Copyright (c) 2025 Conny Marco Menebröcker
 *
 * SPDX-License-Identifier: Apache-2.0
 */

#include <zephyr/drivers/gpio.h>
#include <zephyr/drivers/rfid.h>
#include <zephyr/kernel.h>
#include <zephyr/rfid/iso14443.h>
#include "states.h"
#include "eeprom.h"
#include "powermanager.h"

#define RFID_MAIN_STACK_SIZE 1024
#define RFID_MAIN_PRIORITY   5

#define RFID_NODE DT_ALIAS(rfid)
static const struct device *rfid_dev = DEVICE_DT_GET(RFID_NODE);

K_THREAD_STACK_DEFINE(rfid_main_stack, RFID_MAIN_STACK_SIZE);
static struct k_thread rfid_main_data;
k_tid_t rfid_main_id;

struct my_rfid_iso14443a_info {
	uint8_t atqa[RFID_ISO14443A_MAX_ATQA_LEN];
	uint8_t uid[RFID_ISO14443A_MAX_UID_LEN];
	uint8_t uid_len;
	uint8_t sak;
} info;

static bool programming = false;

static void rfid_main(void *p1, void *p2, void *p3)
{
	struct rfid_property props[2];

	props[0].type = RFID_PROP_SLEEP;
	/* refid_set_properties shall block until a tag is detected*/
	props[0].timeout_us = UINT32_MAX;

	props[1].type = RFID_PROP_RESET;

	while (1) {
		rfid_set_properties(rfid_dev, &props[0], 1);

		if (props[0].status != 0) {
			/** Workaround for CR95HF:
			 * If the Tag is removed while rfid_iso14443a_sdd is not finished, the
			 * CR95HF seems to be in an internal state where Sleep Mode is not
			 * possible any longer. To leave that state, you have to re-represent the
			 * tag and wait for the end of communication or you have to reset the
			 * device.
			 */
			rfid_set_properties(rfid_dev, &props[1], 1);
			printf("workaround\n");
			continue;
		}

		printk("Lese NFC Daten\n");
		powermanager_wakeup();
		powermanager_trigger();

		rfid_load_protocol(rfid_dev, RFID_PROTO_ISO14443A,
				   RFID_MODE_INITIATOR | RFID_MODE_TX_106 | RFID_MODE_RX_106);

		memset(&info, 0, sizeof(info));

		if (rfid_iso14443a_request(rfid_dev, info.atqa, true) == 0) {
			if (rfid_iso14443a_sdd(rfid_dev, (struct rfid_iso14443a_info *)&info) ==
			    0) {

				if (eeprom_check_uid(info.uid, info.uid_len)) {
					if (programming == false) {
						push_command(CMD_OEFFNE_BRIEF);
					}
				} else {
					if (programming == true) {
						eeprom_add_uid(info.uid, info.uid_len);
					}
				}
				k_sleep(K_SECONDS(2));
			}
		}
	}
}

void rfid_init(void)
{
	/* Starte rfid_main */
	rfid_main_id = k_thread_create(&rfid_main_data, rfid_main_stack,
				       K_THREAD_STACK_SIZEOF(rfid_main_stack), rfid_main, NULL,
				       NULL, NULL, RFID_MAIN_PRIORITY, 0, K_NO_WAIT);
}

void rfid_set_programming_mode(void)
{
	if (programming == false) {
		eeprom_clear_uid_list();
		printk("programming mode\n");
		programming = true;
	}
}

void rfid_set_normal_mode(void)
{
	if (programming == true) {
		programming = false;
		printk("normal mode\n");
		eeprom_write_uid_list();
	}
}
```

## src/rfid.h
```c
/*
 * Copyright (c) 2025 Conny Marco Menebröcker
 *
 * SPDX-License-Identifier: Apache-2.0
 */
#ifndef RFID_H
#define RFID_H

void rfid_init(void);
void rfid_set_programming_mode(void);
void rfid_set_normal_mode(void);

#endif /* RFID_H */
```
